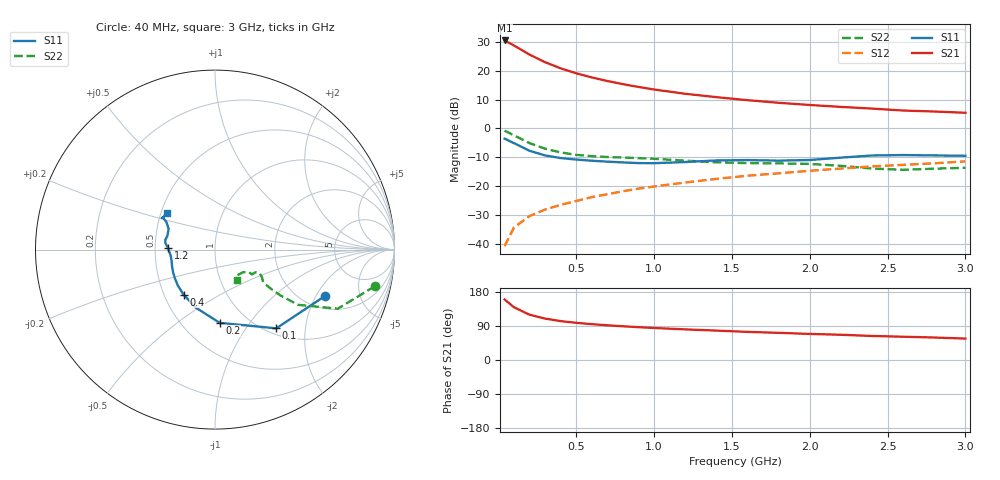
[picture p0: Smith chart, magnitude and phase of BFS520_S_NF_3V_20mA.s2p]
! Filename:  BFS520E.S2P  Version:  4.0
! Philips part #: BFS520  Date: Jun 1994
! Bias condition: Vce=3V, Ic=20mA
#  MHz  S  MA  R  50
! Freq  S11  S21  S12  S22  !GUM [dB]
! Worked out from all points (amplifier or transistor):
!   21 points, 40 MHz to 3 GHz, reference 50 ohm
!   highest |S21| = 30.6 dB at 40 MHz (marker M1)
!   |S21| within 3 dB of that: start of sweep to 139.5 MHz
!   unconditionally stable (mu >= 1): 614.9 MHz to end of sweep
!   at 300 MHz: K = 0.81, MSG = 25.6 dB, |S12| = -28.2 dB
!   at 1 GHz: K = 1.08, MAG = 15.2 dB, |S12| = -20.2 dB
!   at 3 GHz: K = 1.04, MAG = 7.2 dB, |S12| = -11.4 dB
!   lowest NFmin = 1.45 dB at 500 MHz
!   S11 on the Smith chart (normalised r, x): 40 MHz: 2.57, -2.38; 100 MHz: 1.10, -1.40; 200 MHz: 0.75, -0.73; 400 MHz: 0.63, -0.35; 1.2 GHz: 0.59, +0.01; 3 GHz: 0.54, +0.25
40  0.665 -22.9  33.84 159.8  0.009 80.4  0.914 -12.9
100  0.556 -52.1  27.65 139.3  0.019 69.1  0.759 -25.7
200  0.409 -86.3  19.23 119.5  0.03 63.7  0.556 -33.6
300  0.34 -108.7  14.18 109.2  0.039 64.7  0.445 -35.0
400  0.306 -124.8  11.09 102.6  0.047 66.4  0.383 -35.0
500  0.288 -135.9  9.094 98.1  0.055 68.1  0.348 -34.6
600  0.275 -144.5  7.701 94.6  0.064 69.6  0.33 -34.0
700  0.265 -151.9  6.681 91.6  0.072 70.9  0.319 -33.3
800  0.257 -158.4  5.888 89.0  0.081 71.7  0.312 -32.1
900  0.25 -165.1  5.266 86.6  0.09 72.2  0.305 -30.8
1000  0.249 -171.4  4.754 84.5  0.098 72.7  0.297 -29.6
1200  0.261 178.3  4.007 80.8  0.115 73.3  0.276 -27.9
1400  0.278 172.7  3.501 77.6  0.133 73.8  0.258 -29.2
1600  0.282 169.1  3.1 74.2  0.151 73.2  0.25 -32.9
1800  0.276 164.0  2.794 71.7  0.166 73.4  0.247 -34.0
2000  0.283 155.9  2.557 68.8  0.184 72.9  0.242 -33.6
2200  0.311 150.5  2.37 66.6  0.201 72.9  0.224 -34.1
2400  0.339 148.5  2.215 63.4  0.219 72.4  0.201 -38.7
2600  0.345 149.4  2.05 61.4  0.233 71.3  0.191 -47.0
2800  0.34 147.7  1.97 59.3  0.248 71.3  0.2 -52.8
3000  0.335 142.2  1.873 56.5  0.268 70.6  0.207 -54.5
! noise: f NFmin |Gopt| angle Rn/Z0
500  1.45  0.048  61  0.2
900  1.6  0.078  136  0.18
2000  2.2  0.311  -153  0.17
